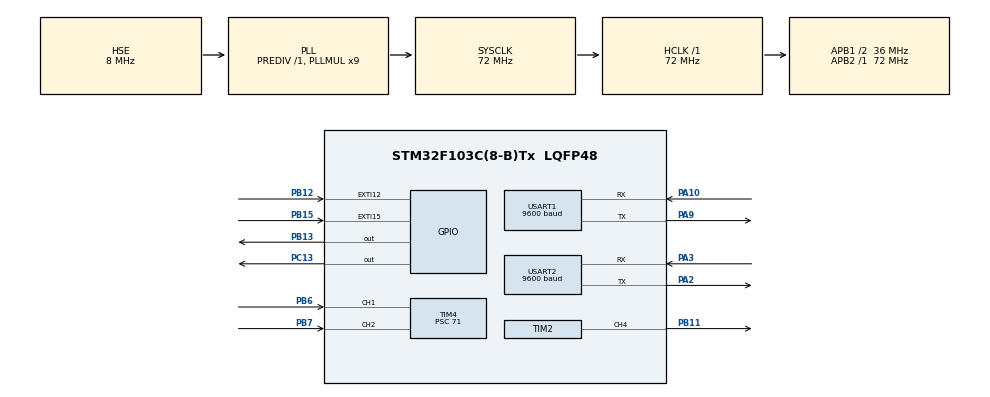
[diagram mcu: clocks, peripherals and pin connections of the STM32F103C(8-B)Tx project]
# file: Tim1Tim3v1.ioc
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Dma.Request0=USART2_RX
Dma.Request1=USART2_TX
Dma.Request2=USART1_TX
Dma.Request3=USART1_RX
Dma.USART1_RX.3.Direction=DMA_PERIPH_TO_MEMORY
Dma.USART1_RX.3.Instance=DMA1_Channel5
Dma.USART1_RX.3.MemDataAlignment=DMA_MDATAALIGN_BYTE
Dma.USART1_RX.3.MemInc=DMA_MINC_ENABLE
Dma.USART1_RX.3.Mode=DMA_NORMAL
Dma.USART1_RX.3.PeriphDataAlignment=DMA_PDATAALIGN_BYTE
Dma.USART1_RX.3.PeriphInc=DMA_PINC_DISABLE
Dma.USART1_RX.3.Priority=DMA_PRIORITY_LOW
Dma.USART1_TX.2.Direction=DMA_MEMORY_TO_PERIPH
Dma.USART1_TX.2.Instance=DMA1_Channel4
Dma.USART1_TX.2.MemDataAlignment=DMA_MDATAALIGN_BYTE
Dma.USART1_TX.2.MemInc=DMA_MINC_ENABLE
Dma.USART1_TX.2.Mode=DMA_NORMAL
Dma.USART1_TX.2.PeriphDataAlignment=DMA_PDATAALIGN_BYTE
Dma.USART1_TX.2.PeriphInc=DMA_PINC_DISABLE
Dma.USART1_TX.2.Priority=DMA_PRIORITY_LOW
Dma.USART2_RX.0.Direction=DMA_PERIPH_TO_MEMORY
Dma.USART2_RX.0.Instance=DMA1_Channel6
Dma.USART2_RX.0.MemDataAlignment=DMA_MDATAALIGN_BYTE
Dma.USART2_RX.0.MemInc=DMA_MINC_ENABLE
Dma.USART2_RX.0.Mode=DMA_NORMAL
Dma.USART2_RX.0.PeriphDataAlignment=DMA_PDATAALIGN_BYTE
Dma.USART2_RX.0.PeriphInc=DMA_PINC_DISABLE
Dma.USART2_RX.0.Priority=DMA_PRIORITY_LOW
Dma.USART2_TX.1.Direction=DMA_MEMORY_TO_PERIPH
Dma.USART2_TX.1.Instance=DMA1_Channel7
Dma.USART2_TX.1.MemDataAlignment=DMA_MDATAALIGN_BYTE
Dma.USART2_TX.1.MemInc=DMA_MINC_ENABLE
Dma.USART2_TX.1.Mode=DMA_NORMAL
Dma.USART2_TX.1.PeriphDataAlignment=DMA_PDATAALIGN_BYTE
Dma.USART2_TX.1.PeriphInc=DMA_PINC_DISABLE
Dma.USART2_TX.1.Priority=DMA_PRIORITY_LOW
Mcu.Family=STM32F1
Mcu.Name=STM32F103C(8-B)Tx
Mcu.Package=LQFP48
NVIC.DMA1_Channel4_IRQn=true\:0\:0\:false\:false\:true\:false\:true
NVIC.DMA1_Channel5_IRQn=true\:0\:0\:false\:false\:true\:false\:true
NVIC.DMA1_Channel6_IRQn=true\:0\:0\:false\:false\:true\:false\:true
NVIC.DMA1_Channel7_IRQn=true\:0\:0\:false\:false\:true\:false\:true
NVIC.EXTI15_10_IRQn=true\:0\:0\:false\:false\:true\:true\:true
NVIC.PriorityGroup=NVIC_PRIORITYGROUP_4
NVIC.USART1_IRQn=true\:0\:0\:false\:false\:true\:true\:true
NVIC.USART2_IRQn=true\:0\:0\:false\:false\:true\:true\:true
PA10.GPIO_Mode=GPIO_MODE_INPUT
PA10.Mode=Asynchronous
PA10.Signal=USART1_RX
PA13.Mode=Serial_Wire
PA13.Signal=SYS_JTMS-SWDIO
PA14.Mode=Serial_Wire
PA14.Signal=SYS_JTCK-SWCLK
PA2.GPIO_Speed=GPIO_SPEED_FREQ_HIGH
PA2.Mode=Asynchronous
PA2.Signal=USART2_TX
PA3.GPIO_Mode=GPIO_MODE_INPUT
PA3.Mode=Asynchronous
PA3.Signal=USART2_RX
PA9.GPIO_Speed=GPIO_SPEED_FREQ_HIGH
PA9.Mode=Asynchronous
PA9.Signal=USART1_TX
PB11.Signal=S_TIM2_CH4
PB12.GPIO_ModeDefaultEXTI=GPIO_MODE_IT_RISING_FALLING
PB12.Signal=GPXTI12
PB13.GPIO_ModeDefaultOutputPP=GPIO_MODE_OUTPUT_PP
PB13.GPIO_PuPd=GPIO_PULLUP
PB13.GPIO_Speed=GPIO_SPEED_FREQ_HIGH
PB13.Signal=GPIO_Output
PB15.GPIO_ModeDefaultEXTI=GPIO_MODE_IT_RISING
PB15.GPIO_PuPd=GPIO_NOPULL
PB15.Signal=GPXTI15
PB6.GPIO_Mode=GPIO_MODE_INPUT
PB6.Signal=S_TIM4_CH1
PB7.GPIO_Mode=GPIO_MODE_INPUT
PB7.Signal=S_TIM4_CH2
PC13-TAMPER-RTC.GPIO_Speed=GPIO_SPEED_FREQ_HIGH
PC13-TAMPER-RTC.PinState=GPIO_PIN_RESET
PC13-TAMPER-RTC.Signal=GPIO_Output
PD0-OSC_IN.Mode=HSE-External-Oscillator
PD0-OSC_IN.Signal=RCC_OSC_IN
PD1-OSC_OUT.Mode=HSE-External-Oscillator
PD1-OSC_OUT.Signal=RCC_OSC_OUT
ProjectManager.HeapSize=0x200
ProjectManager.StackSize=0x400
ProjectManager.TargetToolchain=STM32CubeIDE
RCC.AHBFreq_Value=72000000
RCC.APB1CLKDivider=RCC_HCLK_DIV2
RCC.APB1Freq_Value=36000000
RCC.APB1TimFreq_Value=72000000
RCC.APB2Freq_Value=72000000
RCC.APB2TimFreq_Value=72000000
RCC.HCLKFreq_Value=72000000
RCC.PLLMUL=RCC_PLL_MUL9
RCC.PLLSourceVirtual=RCC_PLLSOURCE_HSE
RCC.SYSCLKFreq_VALUE=72000000
RCC.SYSCLKSource=RCC_SYSCLKSOURCE_PLLCLK
RCC.USBFreq_Value=72000000
SH.S_TIM2_CH4.0=TIM2_CH4,PWM Generation4 CH4
SH.S_TIM4_CH1.0=TIM4_CH1,Input_Capture1_from_TI1
SH.S_TIM4_CH2.0=TIM4_CH2,Input_Capture2_from_TI2
SH.S_TIM4_CH2.1=TIM4_CH2,TriggerSource_TI2FP2
TIM1.Period=65535
TIM1.Prescaler=71
TIM1.RepetitionCounter=10
TIM2.Channel-PWM\ Generation4\ CH4=TIM_CHANNEL_4
TIM2.Period=39999
TIM2.Prescaler=179
TIM3.Period=65535
TIM3.Prescaler=71
TIM4.Channel-Input_Capture1_from_TI1=TIM_CHANNEL_1
TIM4.Channel-Input_Capture2_from_TI2=TIM_CHANNEL_2
TIM4.ICPolarity_CH2=TIM_INPUTCHANNELPOLARITY_FALLING
TIM4.Period=65535
TIM4.Prescaler=71
USART1.BaudRate=9600
USART1.VirtualMode=VM_ASYNC
USART2.BaudRate=9600
USART2.VirtualMode=VM_ASYNC
VP_TIM1_VS_ClockSourceINT.Mode=Internal
VP_TIM2_VS_ClockSourceINT.Mode=Internal
VP_TIM3_VS_ClockSourceINT.Mode=Internal
VP_TIM4_VS_ControllerModeReset.Mode=Reset Mode
board=custom

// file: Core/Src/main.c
/* USER CODE BEGIN Header */
/**
  ******************************************************************************
  * @file           : main.c
  * @brief          : Main program body
  ******************************************************************************
  * @attention
  *
  * <h2><center>&copy; Copyright (c) 2019 STMicroelectronics.
  * All rights reserved.</center></h2>
  *
  * This software component is licensed by ST under BSD 3-Clause license,
  * the "License"; You may not use this file except in compliance with the
  * License. You may obtain a copy of the License at:
  *                        opensource.org/licenses/BSD-3-Clause
  *
  ******************************************************************************
  */
/* USER CODE END Header */

#include "main.h"

/* USER CODE BEGIN Includes */
#include "string.h"

#include "stdio.h" //https://www.youtube.com/watch?v=5usorjLqtHk for HC-SR04
#include "mp3_lib.h"
/* USER CODE END Includes */

/* USER CODE BEGIN PD */
#define echo_PB12 PB12 // пин на линии EXTI12
/* USER CODE END PD */

TIM_HandleTypeDef htim1;
TIM_HandleTypeDef htim2;
TIM_HandleTypeDef htim3;
TIM_HandleTypeDef htim4;

UART_HandleTypeDef huart1;
UART_HandleTypeDef huart2;
DMA_HandleTypeDef hdma_usart1_tx;
DMA_HandleTypeDef hdma_usart1_rx;
DMA_HandleTypeDef hdma_usart2_rx;
DMA_HandleTypeDef hdma_usart2_tx;

/* USER CODE BEGIN PV */
volatile char sim='q';
uint8_t transmitBuffer[10];	//for uart
uint8_t receiveBuffer[10];	//for uart
GPIO_PinState triger_line_status; //for GPIO_PinState = GPIO_PIN_RESET = 0u, GPIO_PIN_SET

uint32_t delay;
uint32_t echo1;
uint32_t echo2;
float dis1;
float dis2;
uint32_t start = 0;
uint32_t start1 = 0;
uint32_t start2 = 0;
uint32_t start3 = 0;
uint32_t startSum=0;
uint32_t echoCount=0;
uint32_t delta=0;
float range=0.f;
float range2=0.f;

/* USER CODE END PV */

void SystemClock_Config(void);
static void MX_GPIO_Init(void);
static void MX_TIM1_Init(void);
static void MX_TIM3_Init(void);
static void MX_USART2_UART_Init(void);
static void MX_TIM2_Init(void);
static void MX_TIM4_Init(void);
static void MX_DMA_Init(void);
static void MX_USART1_UART_Init(void);
/* USER CODE BEGIN PFP */
//void log(char msg[]);
void Log(char *msg);

/* USER CODE END PFP */

/* USER CODE BEGIN 0 */
int _write (int fd, char *ptr, int len)
{
    HAL_UART_Transmit(&huart2, (uint8_t*) ptr, len, 0xFFFF);

    return len;
}

int _read (int fd, char *ptr, int len)
{

    *ptr = 0x00; // Flush the character buffer

    HAL_UART_Receive(&huart2, (uint8_t*) ptr, 1, 0xFFFF);

return 1;
}
//http://www.count-zero.ru/2016/stm32_uart/
#ifdef __GNUC__
/* With GCC/RAISONANCE, small printf (option LD Linker->Libraries->Small printf
   set to 'Yes') calls __io_putchar() */
#define PUTCHAR_PROTOTYPE int __io_putchar(int ch)
#else
#define PUTCHAR_PROTOTYPE int fputc(int ch, FILE *f)
#endif /* __GNUC__ */

unsigned count = 0;
void HAL_TIM_PeriodElapsedCallback(TIM_HandleTypeDef *htim)
{
	char xxx[] = "interrupt comes from TIM1\r\n";

	//uint16_t yyy = strlen(xxx);
	//uint32_t zzz = 100;
	//char uartString[] = "Hello from TIM";
	//char uartString2[] = "1\r\n";
	//bcopy(&uartString2,&uartString,0);

        if(htim->Instance == TIM1) //check if the interrupt comes from TIM1
        {
        	//strcat(&uartString,"1\r\n");
//        	if(/*GPIO_PinState */HAL_GPIO_ReadPin(GPIOC, GPIO_PIN_13)==0u)
//        	{
        	//	HAL_GPIO_TogglePin(GPIOC, GPIO_PIN_13);
//        	}
//        	if(/*GPIO_PinState */HAL_GPIO_ReadPin(GPIOC, GPIO_PIN_13)!=0u)
//        	        	{
//        	        		HAL_GPIO_TogglePin(GPIOC, GPIO_PIN_13);
//        	        	}

        	//HAL_UART_Transmit(&huart2, uartString, strlen(uartString), 100);

                //посылает в 1й UART текст, у меня он выводится
                //в proteus-е (virtual terminal)

        	/*Log(xxx);

        	triger_line_status = HAL_GPIO_ReadPin(GPIOB, GPIO_PIN_13);
        	if(triger_line_status == GPIO_PIN_SET) {Log("GPIO_PIN_SET\r\n");}
        	else {
				Log("GPIOB, GPIO_PIN_13:  GPIO_PIN_RESET\r\n\r\n");
			}*/

        }
//        if(htim->Instance == TIM3) //check if the interrupt comes from TIM3
//        {

//                //HAL_UART_Transmit(&huart2, "interrupt comes from TIM3", strlen("interrupt comes from TIM3"), 100);
//                //посылает в 2й UART текст, у меня он выводится
//                //в proteus-е (virtual terminal)
//        }

}

void HAL_UART_RxCpltCallback(UART_HandleTypeDef *huart)
{
          if(huart == &huart2)
          	  {
                  HAL_UART_Transmit(&huart2, (uint8_t*)&sim, 1, 10);
                  HAL_UART_Receive_IT(&huart2, (uint8_t*)&sim, 1);
          	  }
          if(huart == &huart1)
                    {
                            //HAL_UART_Transmit(&huart2, (uint8_t*)&sim, 1, 10);
        	  	  	  	  	HAL_UART_Transmit(&huart2, (uint8_t*)&sim, 1,1);
                            HAL_UART_Receive_IT(&huart1, (uint8_t*)&sim, 1);

                    }
          HAL_UART_Receive_IT(&huart1, (uint8_t*)&sim, 1);
}
void HAL_GPIO_EXTI_Callback(uint16_t GPIO_Pin)
{
	if(GPIO_Pin == GPIO_PIN_8)
	{
		//HAL_GPIO_TogglePin(GPIOC, GPIO_PIN_13);

	}
}

//{
//	uint8_t xxx[] = "EXTI15_10_IRQHandler\r\n";
//	HAL_UART_Transmit(&huart2, xxx, strlen(xxx), 100);
//}

//void USART2_IRQHandler(void){
//	uint8_t xxx[] = "USART1_IRQHandler TIM1\r\n";
//	//HAL_UART_Receive_IT(&huart2, receiveBuffer, 2);
//	//HAL_UART_Transmit_IT(&huart2, receiveBuffer, 2);
//	HAL_UART_Transmit(&huart2, xxx, strlen(xxx), 100);
////	UART_Receive_IT(&huart2){
////
////	}
//}

/* USER CODE END 0 */

int main(void)
{

  /* MCU Configuration--------------------------------------------------------*/

  /* Reset of all peripherals, Initializes the Flash interface and the Systick. */
  HAL_Init();

  /* Configure the system clock */
  SystemClock_Config();

  /* Initialize all configured peripherals */
  MX_GPIO_Init();
  MX_TIM1_Init();
  MX_TIM3_Init();
  MX_USART2_UART_Init();
  MX_TIM2_Init();
  MX_TIM4_Init();
  MX_DMA_Init();
  MX_USART1_UART_Init();
  /* USER CODE BEGIN 2 */
  HAL_TIM_Base_Start_IT(&htim1);//запустим таймер1 в режиме прерывания:
  HAL_TIM_Base_Start(&htim3);
  HAL_TIM_Base_Start(&htim4);
  HAL_TIM_Base_Start(&htim4);
  HAL_TIM_Base_Start(&htim2);
  HAL_TIM_Base_Start(&htim2);
  HAL_TIM_PWM_Start(&htim2, TIM_CHANNEL_4);
  TIM2->CCR4 = 3;
  HAL_TIM_IC_Start(&htim4, TIM_CHANNEL_1);
  HAL_TIM_IC_Start(&htim4, TIM_CHANNEL_2);

  CoreDebug->DEMCR |= CoreDebug_DEMCR_TRCENA_Msk;
  DWT->CYCCNT = 0;
  DWT->CTRL |= DWT_CTRL_CYCCNTENA_Msk;
  //HAL_UART_IRQHandler(&huart2);

//  HAL_GPIO_EXTI_IRQHandler(GPIOB,GPIO_PIN_12){
//
//  }

//  for (unsigned char i = 0; i < 2; i++)
//    {
//      //transmitBuffer[i] = i + 1;
//      receiveBuffer[i] = 0;
//    }

    //HAL_UART_Receive_IT(&huart2, receiveBuffer, 32);
    //HAL_UART_Transmit_IT(&huart2, transmitBuffer, 32);

  /* USER CODE END 2 */

  /* Infinite loop */
  /* USER CODE BEGIN WHILE */

  // Play single file from folder
      // This command start playing file 032.mp3 from folder 05
       //MP3_send_cmd(MP3_PLAY_FOLDER_FILE, 1, 1); //folder 01..99, file 001..255
      // MP3_send_cmd(MP3_PLAY_FOLDER_FILE, 1, 1);
      //Make Voice QUEUE
      //MP3_say(MP3_NO_VALUE, 3148, MP3_NO_VALUE);
      //MP3_say(MP3_NO_VALUE, -35, MP3_NO_VALUE);
      //MP3_say(100, 153, 103);
      //MP3_say(MP3_NO_VALUE, 715, MP3_NO_VALUE);

  unsigned char next[] = {0x7E,0xFF,0x06,0x01,0x00,0x00,0x00,0xEF};
  unsigned char play[] = {0x7E,0xFF,0x06,0x03,0x00,0x00,0x00,0xFE,0xee,0xEF};
  	  	  	  	  	   //{ 0X7E, 0xFF, 0x06, 0X03, 00, 00, 00, 0xFE, 0xee, 0XEF};
  unsigned char play2[] = {0x7E,0xFF,0x06,0x0D,0x00,0x00,0x00,0xEF};
  unsigned char flash[] = {0x7E,0xFF,0x06,0x09,0x00,0x01,0x01,0xFF,0xDD,0xEF};
  unsigned char quaryVolume[] = {0x7E,0xFF,0x06,0x43,0x01,0x00,0x00,0xEF};
  unsigned char runsend[] = {0x00,0x00,0xFF};
  //u_char next2[]={0x7E,0xFF};

  char mp3[10];

  char buf[20];

  //char temp[255]=" <-- start in main while\r\n";
//  uint8_t *pdata;
  //uint32_t start = 0;
  float val=0.f;
  HAL_GPIO_TogglePin(GPIOC, GPIO_PIN_13);

  HAL_UART_Receive_IT(&huart1, (uint8_t*)&sim, 1);

//  	  HAL_Delay(3000);
//  	  HAL_UART_Transmit_IT(&huart2, (uint8_t *)&runsend, 3);
//  	  HAL_Delay(200);
//	  MP3_send_cmd(0x43, 0, 0);//Querycurrent status

  HAL_Delay(6000);
	  HAL_UART_Transmit_IT(&huart2, (uint8_t *)&next, 8);

  	  HAL_Delay(3000);
  	  MP3_send_cmd(0x06, 0, 10);//Specifiedvolumeislevel ...

  	  HAL_Delay(3000);
	  MP3_send_cmd(0x03, 0, 0);//SpecifieddeviceismicroSD

	  HAL_Delay(3000);
  	  HAL_UART_Transmit_IT(&huart2, (uint8_t *)&runsend, 3);
  	  HAL_Delay(3000);
	  MP3_send_cmd(0x4C, 0, 0);//Querycurrent trackinthe microSDcard

	  HAL_Delay(3000);
  	  HAL_UART_Transmit_IT(&huart2, (uint8_t *)&runsend, 3);
  	  HAL_Delay(200);
	  MP3_send_cmd(0x0C, 0, 0);//Reset
	  HAL_Delay(5000);
  	  HAL_UART_Transmit_IT(&huart2, (uint8_t *)&runsend, 3);
  	  //HAL_Delay(1000);
	  //MP3_send_cmd(0x0D, 0, 0);//PLAY
  while (1)
  {
	  HAL_Delay(500);
	  MP3_send_cmd(0x0D, 0, 0);//PLAY
	  HAL_Delay(5000);
	  MP3_send_cmd(0x0C, 0, 0);//Reset
	  	  HAL_Delay(5000);

	  //HAL_GPIO_TogglePin(GPIOС, GPIO_PIN_13);
	  if(0)
	  {
	  //HAL_Delay(6000);
	  //HAL_UART_Transmit(&huart2, &mp3, strlen(mp3), 20);
	  //HAL_UART_Transmit_IT(&huart2, &next, 10);
	  //HAL_UART_Transmit_IT(&huart1, &flash, (uint16_t)10);
	  //HAL_UART_Transmit(&huart2, &newstr, strlen(newstr),10);
	  //HAL_UART_Transmit_IT(&huart1, &play2, 10);
	  HAL_Delay(3000);
	  MP3_send_cmd(0x43, 0, 0);//Querycurrent status

	  HAL_Delay(3000);
	  MP3_send_cmd(0x09, 0, 2);//SpecifieddeviceismicroSD

	  HAL_Delay(3000);
	  MP3_send_cmd(0x4C, 0, 0);//Querycurrent trackinthe microSDcard

	  HAL_Delay(3000);
	  MP3_send_cmd(0x0C, 0, 0);//Reset
	  HAL_Delay(5000);
	  MP3_send_cmd(0x0D, 0, 0);//PLAY
	  HAL_Delay(10000);
	  MP3_send_cmd(MP3_NEXT, 0, 0);
	  HAL_Delay(3000);
	  MP3_send_cmd(MP3_PLAYBACK, MP3_PLAYBACK_MODE_Repeat, MP3_PLAYBACK_SOURCE_TF);
	  HAL_Delay(3000);
	  MP3_send_cmd(MP3_PLAYBACK, MP3_PLAYBACK_SOURCE_TF, MP3_PLAYBACK_MODE_Repeat);
	  HAL_Delay(3000);
	  MP3_send_cmd(MP3_PLAYBACK, 0, 0);
	  HAL_Delay(3000);
	  MP3_send_cmd(MP3_NEXT, 0, 0);
	  HAL_Delay(3000);
	  MP3_send_cmd(MP3_NEXT, 0, 0);
	  HAL_Delay(3000);
	  MP3_send_cmd(MP3_NEXT, 0, 0);
  }
	  //HAL_UART_Transmit(&huart2, &next2, strlen(next2), 20);
	  //HAL_GPIO_TogglePin(GPIOC, GPIO_PIN_13);
	  if(0)
	  {
	  if(HAL_GetTick()-delay>1000){
		  delay = HAL_GetTick();
		  echo1=HAL_TIM_ReadCapturedValue(&htim4, TIM_CHANNEL_1);
		  echo2=HAL_TIM_ReadCapturedValue(&htim4, TIM_CHANNEL_2);
		  dis1=echo1 / 58.0f;
		  dis2=echo2 / 58.0f;
		  printf("echo1: %u;  dis1: %.6f; echo2: %u; dis2: %.6f\r\n",echo1, dis1, echo2, dis2);

	  }
	  }

	  if(0){
	  printf("value: %4.2f\n",val);
	  val =val+0.37f;
	  //HAL_GPIO_WritePin(GPIOB, GPIO_PIN_13, GPIO_PIN_SET);
//	  start = HAL_GetTick();

	  //start = TIM3->CNT;
	  start = DWT->CYCCNT;
	  //HAL_Delay(8);
	  HAL_GPIO_TogglePin(GPIOB, GPIO_PIN_13);
	  HAL_Delay(10);
	  //HAL_TIM_Base_Start(&htim3);
	  HAL_GPIO_TogglePin(GPIOB, GPIO_PIN_13);
	  HAL_Delay(100);
	  //HAL_TIM_Base_Stop(&htim3);
	  utoa(start,buf,10);
	  	  Log(buf);
	  	  //Log(itoa(start1,buf,10));
	  	  Log("<--start\r\n");
	  	  utoa(start1,buf,10);
	  	  Log(buf);
	  //	  Log(itoa(start2,buf,10));
	  	  Log("<--start1\r\n");
	  	  utoa(start2,buf,10);
	  	  Log(buf);
	  //	  Log(itoa(start3,buf,10));
	  	  Log("<--start2\r\n");
	  	  utoa(start3,buf,10);
	  	  Log(buf);
	  	  Log("<--start3\r\n");

	  	  startSum=start2-start1;
	  	  utoa(startSum,buf,10);
	  	  Log(buf);
	  	  Log("<--startSum\r\n");

	  	  //startSum=startSum/71999999*34000/2;
	  	  range=0.000236*startSum;
	  	  printf("time range: %4.8f\r\n",range);
	  	  //utoa(range,buf,10);
	  	  //buf=(char)range;
	  	  //Log(buf);
	  	  //Log("<--Lens cm\r\n");

	  	  utoa(echoCount,buf,10);
	  	  Log(buf);
	  	  Log("<--echoCount\r\n");

	  	  if(delta!=(uint32_t)0) {
	  		delta=start-delta;
	  	  }
	  	  if(delta==(uint32_t)0) {delta=start;}

	  	  utoa(delta,buf,10);
	  	  Log(buf);

	  	  Log("<--delta\r\n");
	  	  Log("\r\n\r\n");
	  	  start1=0u;
	  	  start2=0u;
	  	  start3=0u;
	  	  start=0u;
	  	  delta=0u;
	  	  echoCount=0u;
	  	  startSum=0u;

	  //HAL_GPIO_WritePin(GPIOB, GPIO_PIN_13, GPIO_PIN_RESET);
	  //-start;
	  //HAL_Delay(500);
	  //itoa(HAL_GetTick(),www,10);
	  //HAL_UART_Transmit(&huart2, &pdata, strlen(&pdata),10);
	  //Log(itoa(start,buf,20));
	  //Log(temp);
	  //getTime(&start);

/*	  utoa(start,buf,10);
	  Log(buf);
	  //Log(itoa(start1,buf,10));
	  Log("<--start\r\n");
	  utoa(start1,buf,10);
	  Log(buf);
//	  Log(itoa(start2,buf,10));
	  Log("<--start1\r\n");
	  utoa(start2,buf,10);
	  Log(buf);
//	  Log(itoa(start3,buf,10));
	  Log("<--start2\r\n");
	  utoa(start3,buf,10);
	  Log(buf);
	  Log("<--start3\r\n");
	  startSum=start1-start;
	  utoa(startSum,buf,10);
	  Log(buf);
	  Log("<--startSum\r\n");
	  utoa(echoCount,buf,10);
	  Log(buf);
	  Log("<--echoCount\r\n");
	  Log("\r\n\r\n");
	  start1=0u;
	  start2=0u;
	  start3=0u;
	  start=0u;
	  echoCount=0u;
	  startSum=0u;
*/

	  /*if(HAL_GPIO_ReadPin(GPIOB, GPIO_PIN_13)==GPIO_PIN_RESET)
	  {
		  for(int i=1;i<5;i++)
		  {
			  HAL_GPIO_WritePin(GPIOC, GPIO_PIN_13, GPIO_PIN_SET);
			  HAL_Delay(200);
			  HAL_GPIO_WritePin(GPIOC, GPIO_PIN_13, GPIO_PIN_RESET);
			  HAL_Delay(200);
  		  }
		  HAL_GPIO_WritePin(GPIOC, GPIO_PIN_13, GPIO_PIN_SET);
	  }*/

	  HAL_Delay(759);
	  //HAL_UART_Transmit(&huart2, uartString, strlen(uartString), 500);
	  //HAL_Delay(500);
  }
    /* USER CODE END WHILE */

  }
}

void SystemClock_Config(void)
{
  RCC_OscInitTypeDef RCC_OscInitStruct = {0};
  RCC_ClkInitTypeDef RCC_ClkInitStruct = {0};

  /** Initializes the CPU, AHB and APB busses clocks
  */
  RCC_OscInitStruct.OscillatorType = RCC_OSCILLATORTYPE_HSE;
  RCC_OscInitStruct.HSEState = RCC_HSE_ON;
  RCC_OscInitStruct.HSEPredivValue = RCC_HSE_PREDIV_DIV1;
  RCC_OscInitStruct.HSIState = RCC_HSI_ON;
  RCC_OscInitStruct.PLL.PLLState = RCC_PLL_ON;
  RCC_OscInitStruct.PLL.PLLSource = RCC_PLLSOURCE_HSE;
  RCC_OscInitStruct.PLL.PLLMUL = RCC_PLL_MUL9;
  if (HAL_RCC_OscConfig(&RCC_OscInitStruct) != HAL_OK)
  {
    Error_Handler();
  }
  /** Initializes the CPU, AHB and APB busses clocks
  */
  RCC_ClkInitStruct.ClockType = RCC_CLOCKTYPE_HCLK|RCC_CLOCKTYPE_SYSCLK
                              |RCC_CLOCKTYPE_PCLK1|RCC_CLOCKTYPE_PCLK2;
  RCC_ClkInitStruct.SYSCLKSource = RCC_SYSCLKSOURCE_PLLCLK;
  RCC_ClkInitStruct.AHBCLKDivider = RCC_SYSCLK_DIV1;
  RCC_ClkInitStruct.APB1CLKDivider = RCC_HCLK_DIV2;
  RCC_ClkInitStruct.APB2CLKDivider = RCC_HCLK_DIV1;

  if (HAL_RCC_ClockConfig(&RCC_ClkInitStruct, FLASH_LATENCY_2) != HAL_OK)
  {
    Error_Handler();
  }
}

static void MX_TIM1_Init(void)
{

  TIM_ClockConfigTypeDef sClockSourceConfig = {0};
  TIM_MasterConfigTypeDef sMasterConfig = {0};

  htim1.Instance = TIM1;
  htim1.Init.Prescaler = 71;
  htim1.Init.CounterMode = TIM_COUNTERMODE_UP;
  htim1.Init.Period = 65535;
  htim1.Init.ClockDivision = TIM_CLOCKDIVISION_DIV1;
  htim1.Init.RepetitionCounter = 10;
  htim1.Init.AutoReloadPreload = TIM_AUTORELOAD_PRELOAD_DISABLE;
  if (HAL_TIM_Base_Init(&htim1) != HAL_OK)
  {
    Error_Handler();
  }
  sClockSourceConfig.ClockSource = TIM_CLOCKSOURCE_INTERNAL;
  if (HAL_TIM_ConfigClockSource(&htim1, &sClockSourceConfig) != HAL_OK)
  {
    Error_Handler();
  }
  sMasterConfig.MasterOutputTrigger = TIM_TRGO_RESET;
  sMasterConfig.MasterSlaveMode = TIM_MASTERSLAVEMODE_DISABLE;
  if (HAL_TIMEx_MasterConfigSynchronization(&htim1, &sMasterConfig) != HAL_OK)
  {
    Error_Handler();
  }

}

static void MX_TIM2_Init(void)
{

  TIM_ClockConfigTypeDef sClockSourceConfig = {0};
  TIM_MasterConfigTypeDef sMasterConfig = {0};
  TIM_OC_InitTypeDef sConfigOC = {0};

  htim2.Instance = TIM2;
  htim2.Init.Prescaler = 179;
  htim2.Init.CounterMode = TIM_COUNTERMODE_UP;
  htim2.Init.Period = 39999;
  htim2.Init.ClockDivision = TIM_CLOCKDIVISION_DIV1;
  htim2.Init.AutoReloadPreload = TIM_AUTORELOAD_PRELOAD_DISABLE;
  if (HAL_TIM_Base_Init(&htim2) != HAL_OK)
  {
    Error_Handler();
  }
  sClockSourceConfig.ClockSource = TIM_CLOCKSOURCE_INTERNAL;
  if (HAL_TIM_ConfigClockSource(&htim2, &sClockSourceConfig) != HAL_OK)
  {
    Error_Handler();
  }
  if (HAL_TIM_PWM_Init(&htim2) != HAL_OK)
  {
    Error_Handler();
  }
  sMasterConfig.MasterOutputTrigger = TIM_TRGO_RESET;
  sMasterConfig.MasterSlaveMode = TIM_MASTERSLAVEMODE_DISABLE;
  if (HAL_TIMEx_MasterConfigSynchronization(&htim2, &sMasterConfig) != HAL_OK)
  {
    Error_Handler();
  }
  sConfigOC.OCMode = TIM_OCMODE_PWM1;
  sConfigOC.Pulse = 0;
  sConfigOC.OCPolarity = TIM_OCPOLARITY_HIGH;
  sConfigOC.OCFastMode = TIM_OCFAST_DISABLE;
  if (HAL_TIM_PWM_ConfigChannel(&htim2, &sConfigOC, TIM_CHANNEL_4) != HAL_OK)
  {
    Error_Handler();
  }
  HAL_TIM_MspPostInit(&htim2);

}

static void MX_TIM3_Init(void)
{

  TIM_ClockConfigTypeDef sClockSourceConfig = {0};
  TIM_MasterConfigTypeDef sMasterConfig = {0};

  htim3.Instance = TIM3;
  htim3.Init.Prescaler = 71;
  htim3.Init.CounterMode = TIM_COUNTERMODE_UP;
  htim3.Init.Period = 65535;
  htim3.Init.ClockDivision = TIM_CLOCKDIVISION_DIV1;
  htim3.Init.AutoReloadPreload = TIM_AUTORELOAD_PRELOAD_DISABLE;
  if (HAL_TIM_Base_Init(&htim3) != HAL_OK)
  {
    Error_Handler();
  }
  sClockSourceConfig.ClockSource = TIM_CLOCKSOURCE_INTERNAL;
  if (HAL_TIM_ConfigClockSource(&htim3, &sClockSourceConfig) != HAL_OK)
  {
    Error_Handler();
  }
  sMasterConfig.MasterOutputTrigger = TIM_TRGO_RESET;
  sMasterConfig.MasterSlaveMode = TIM_MASTERSLAVEMODE_DISABLE;
  if (HAL_TIMEx_MasterConfigSynchronization(&htim3, &sMasterConfig) != HAL_OK)
  {
    Error_Handler();
  }

}

static void MX_TIM4_Init(void)
{

  TIM_SlaveConfigTypeDef sSlaveConfig = {0};
  TIM_MasterConfigTypeDef sMasterConfig = {0};
  TIM_IC_InitTypeDef sConfigIC = {0};

  htim4.Instance = TIM4;
  htim4.Init.Prescaler = 71;
  htim4.Init.CounterMode = TIM_COUNTERMODE_UP;
  htim4.Init.Period = 65535;
  htim4.Init.ClockDivision = TIM_CLOCKDIVISION_DIV1;
  htim4.Init.AutoReloadPreload = TIM_AUTORELOAD_PRELOAD_DISABLE;
  if (HAL_TIM_Base_Init(&htim4) != HAL_OK)
  {
    Error_Handler();
  }
  if (HAL_TIM_IC_Init(&htim4) != HAL_OK)
  {
    Error_Handler();
  }
  sSlaveConfig.SlaveMode = TIM_SLAVEMODE_RESET;
  sSlaveConfig.InputTrigger = TIM_TS_TI2FP2;
  sSlaveConfig.TriggerPolarity = TIM_INPUTCHANNELPOLARITY_FALLING;
  sSlaveConfig.TriggerFilter = 0;
  if (HAL_TIM_SlaveConfigSynchro(&htim4, &sSlaveConfig) != HAL_OK)
  {
    Error_Handler();
  }
  sMasterConfig.MasterOutputTrigger = TIM_TRGO_RESET;
  sMasterConfig.MasterSlaveMode = TIM_MASTERSLAVEMODE_DISABLE;
  if (HAL_TIMEx_MasterConfigSynchronization(&htim4, &sMasterConfig) != HAL_OK)
  {
    Error_Handler();
  }
  sConfigIC.ICPolarity = TIM_INPUTCHANNELPOLARITY_RISING;
  sConfigIC.ICSelection = TIM_ICSELECTION_DIRECTTI;
  sConfigIC.ICPrescaler = TIM_ICPSC_DIV1;
  sConfigIC.ICFilter = 0;
  if (HAL_TIM_IC_ConfigChannel(&htim4, &sConfigIC, TIM_CHANNEL_1) != HAL_OK)
  {
    Error_Handler();
  }
  sConfigIC.ICPolarity = TIM_INPUTCHANNELPOLARITY_FALLING;
  if (HAL_TIM_IC_ConfigChannel(&htim4, &sConfigIC, TIM_CHANNEL_2) != HAL_OK)
  {
    Error_Handler();
  }

}

static void MX_USART1_UART_Init(void)
{

  huart1.Instance = USART1;
  huart1.Init.BaudRate = 9600;
  huart1.Init.WordLength = UART_WORDLENGTH_8B;
  huart1.Init.StopBits = UART_STOPBITS_1;
  huart1.Init.Parity = UART_PARITY_NONE;
  huart1.Init.Mode = UART_MODE_TX_RX;
  huart1.Init.HwFlowCtl = UART_HWCONTROL_NONE;
  huart1.Init.OverSampling = UART_OVERSAMPLING_16;
  if (HAL_UART_Init(&huart1) != HAL_OK)
  {
    Error_Handler();
  }

}

static void MX_USART2_UART_Init(void)
{

  huart2.Instance = USART2;
  huart2.Init.BaudRate = 9600;
  huart2.Init.WordLength = UART_WORDLENGTH_8B;
  huart2.Init.StopBits = UART_STOPBITS_1;
  huart2.Init.Parity = UART_PARITY_NONE;
  huart2.Init.Mode = UART_MODE_TX_RX;
  huart2.Init.HwFlowCtl = UART_HWCONTROL_NONE;
  huart2.Init.OverSampling = UART_OVERSAMPLING_16;
  if (HAL_UART_Init(&huart2) != HAL_OK)
  {
    Error_Handler();
  }

}

static void MX_DMA_Init(void)
{

  /* DMA controller clock enable */
  __HAL_RCC_DMA1_CLK_ENABLE();

  /* DMA interrupt init */
  /* DMA1_Channel4_IRQn interrupt configuration */
  HAL_NVIC_SetPriority(DMA1_Channel4_IRQn, 0, 0);
  HAL_NVIC_EnableIRQ(DMA1_Channel4_IRQn);
  /* DMA1_Channel5_IRQn interrupt configuration */
  HAL_NVIC_SetPriority(DMA1_Channel5_IRQn, 0, 0);
  HAL_NVIC_EnableIRQ(DMA1_Channel5_IRQn);
  /* DMA1_Channel6_IRQn interrupt configuration */
  HAL_NVIC_SetPriority(DMA1_Channel6_IRQn, 0, 0);
  HAL_NVIC_EnableIRQ(DMA1_Channel6_IRQn);
  /* DMA1_Channel7_IRQn interrupt configuration */
  HAL_NVIC_SetPriority(DMA1_Channel7_IRQn, 0, 0);
  HAL_NVIC_EnableIRQ(DMA1_Channel7_IRQn);

}

static void MX_GPIO_Init(void)
{
  GPIO_InitTypeDef GPIO_InitStruct = {0};

  /* GPIO Ports Clock Enable */
  __HAL_RCC_GPIOC_CLK_ENABLE();
  __HAL_RCC_GPIOD_CLK_ENABLE();
  __HAL_RCC_GPIOA_CLK_ENABLE();
  __HAL_RCC_GPIOB_CLK_ENABLE();

  /*Configure GPIO pin Output Level */
  HAL_GPIO_WritePin(GPIOC, GPIO_PIN_13, GPIO_PIN_RESET);

  /*Configure GPIO pin Output Level */
  HAL_GPIO_WritePin(GPIOB, GPIO_PIN_13, GPIO_PIN_RESET);

  /*Configure GPIO pin : PC13 */
  GPIO_InitStruct.Pin = GPIO_PIN_13;
  GPIO_InitStruct.Mode = GPIO_MODE_OUTPUT_PP;
  GPIO_InitStruct.Pull = GPIO_NOPULL;
  GPIO_InitStruct.Speed = GPIO_SPEED_FREQ_HIGH;
  HAL_GPIO_Init(GPIOC, &GPIO_InitStruct);

  /*Configure GPIO pin : PB12 */
  GPIO_InitStruct.Pin = GPIO_PIN_12;
  GPIO_InitStruct.Mode = GPIO_MODE_IT_RISING_FALLING;
  GPIO_InitStruct.Pull = GPIO_NOPULL;
  HAL_GPIO_Init(GPIOB, &GPIO_InitStruct);

  /*Configure GPIO pin : PB13 */
  GPIO_InitStruct.Pin = GPIO_PIN_13;
  GPIO_InitStruct.Mode = GPIO_MODE_OUTPUT_PP;
  GPIO_InitStruct.Pull = GPIO_PULLUP;
  GPIO_InitStruct.Speed = GPIO_SPEED_FREQ_HIGH;
  HAL_GPIO_Init(GPIOB, &GPIO_InitStruct);

  /*Configure GPIO pin : PB15 */
  GPIO_InitStruct.Pin = GPIO_PIN_15;
  GPIO_InitStruct.Mode = GPIO_MODE_IT_RISING;
  GPIO_InitStruct.Pull = GPIO_NOPULL;
  HAL_GPIO_Init(GPIOB, &GPIO_InitStruct);

  /* EXTI interrupt init*/
  HAL_NVIC_SetPriority(EXTI15_10_IRQn, 0, 0);
  HAL_NVIC_EnableIRQ(EXTI15_10_IRQn);

}

/* USER CODE BEGIN 4 */
void Log(char *msg)
{
	//uint8_t pData = *msg;
	uint16_t size = strlen(msg);
	HAL_UART_Transmit(&huart2, msg, size, 20);
}

//extern uint32_t start1 = 0;
//extern uint32_t start2 = 0;
//extern uint32_t start3 = 0;

/* USER CODE END 4 */

void Error_Handler(void)
{
  /* USER CODE BEGIN Error_Handler_Debug */
	char err[] = "void Error_Handler";
  /* User can add his own implementation to report the HAL error return state */
	Log(err);
  /* USER CODE END Error_Handler_Debug */
}

/************************ (C) COPYRIGHT STMicroelectronics *****END OF FILE****/
